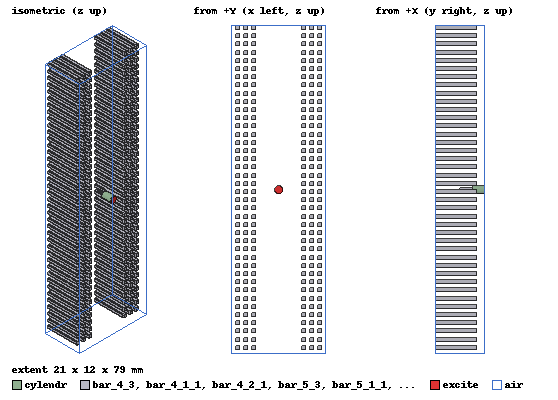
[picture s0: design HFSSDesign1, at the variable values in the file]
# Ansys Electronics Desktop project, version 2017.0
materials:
  vacuum: permittivity=1
  pec: conductivity=1e+30
  Teflon (tm): permittivity=2.1 dielectric_loss_tangent=0.001

design HFSSDesign1 (HFSS, DrivenModal, model units mm)
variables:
  a = 23mm
  b = 12mm
  l = 80mm
  a1 = 1mm
  l1 = 10mm
  b1 = 1mm
  r1 = 0.42mm
  h1 = -6mm
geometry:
  air [vacuum] = box(corner=(0mm, 0mm, 0mm), size=(a, b, l))
  bar [pec] = box(corner=(1mm, 0mm, 1mm), size=(a1, l1, b1))
  bar_1..bar_39 [pec] = bar.duplicate_along_line(step=(0mm, 0mm, 2mm), total=40)
  bar_40, bar_41 [pec] = bar.duplicate_along_line(step=(2mm, 0mm, 0mm), total=3)
  bar_1_1, bar_1_2 [pec] = bar_1.duplicate_along_line(step=(2mm, 0mm, 0mm), total=3)
  bar_2_1, bar_2_2 [pec] = bar_2.duplicate_along_line(step=(2mm, 0mm, 0mm), total=3)
  bar_3_1, bar_3_2 [pec] = bar_3.duplicate_along_line(step=(2mm, 0mm, 0mm), total=3)
  bar_4_1, bar_4_2 [pec] = bar_4.duplicate_along_line(step=(2mm, 0mm, 0mm), total=3)
  bar_5_1, bar_5_2 [pec] = bar_5.duplicate_along_line(step=(2mm, 0mm, 0mm), total=3)
  bar_6_1, bar_6_2 [pec] = bar_6.duplicate_along_line(step=(2mm, 0mm, 0mm), total=3)
  bar_7_1, bar_7_2 [pec] = bar_7.duplicate_along_line(step=(2mm, 0mm, 0mm), total=3)
  bar_8_1, bar_8_2 [pec] = bar_8.duplicate_along_line(step=(2mm, 0mm, 0mm), total=3)
  bar_9_1, bar_9_2 [pec] = bar_9.duplicate_along_line(step=(2mm, 0mm, 0mm), total=3)
  bar_10_1, bar_10_2 [pec] = bar_10.duplicate_along_line(step=(2mm, 0mm, 0mm), total=3)
  bar_11_1, bar_11_2 [pec] = bar_11.duplicate_along_line(step=(2mm, 0mm, 0mm), total=3)
  bar_12_1, bar_12_2 [pec] = bar_12.duplicate_along_line(step=(2mm, 0mm, 0mm), total=3)
  bar_13_1, bar_13_2 [pec] = bar_13.duplicate_along_line(step=(2mm, 0mm, 0mm), total=3)
  bar_14_1, bar_14_2 [pec] = bar_14.duplicate_along_line(step=(2mm, 0mm, 0mm), total=3)
  bar_15_1, bar_15_2 [pec] = bar_15.duplicate_along_line(step=(2mm, 0mm, 0mm), total=3)
  bar_16_1, bar_16_2 [pec] = bar_16.duplicate_along_line(step=(2mm, 0mm, 0mm), total=3)
  bar_17_1, bar_17_2 [pec] = bar_17.duplicate_along_line(step=(2mm, 0mm, 0mm), total=3)
  bar_18_1, bar_18_2 [pec] = bar_18.duplicate_along_line(step=(2mm, 0mm, 0mm), total=3)
  bar_19_1, bar_19_2 [pec] = bar_19.duplicate_along_line(step=(2mm, 0mm, 0mm), total=3)
  bar_20_1, bar_20_2 [pec] = bar_20.duplicate_along_line(step=(2mm, 0mm, 0mm), total=3)
  bar_21_1, bar_21_2 [pec] = bar_21.duplicate_along_line(step=(2mm, 0mm, 0mm), total=3)
  bar_22_1, bar_22_2 [pec] = bar_22.duplicate_along_line(step=(2mm, 0mm, 0mm), total=3)
  bar_23_1, bar_23_2 [pec] = bar_23.duplicate_along_line(step=(2mm, 0mm, 0mm), total=3)
  bar_24_1, bar_24_2 [pec] = bar_24.duplicate_along_line(step=(2mm, 0mm, 0mm), total=3)
  bar_25_1, bar_25_2 [pec] = bar_25.duplicate_along_line(step=(2mm, 0mm, 0mm), total=3)
  bar_26_1, bar_26_2 [pec] = bar_26.duplicate_along_line(step=(2mm, 0mm, 0mm), total=3)
  bar_27_1, bar_27_2 [pec] = bar_27.duplicate_along_line(step=(2mm, 0mm, 0mm), total=3)
  bar_28_1, bar_28_2 [pec] = bar_28.duplicate_along_line(step=(2mm, 0mm, 0mm), total=3)
  bar_29_1, bar_29_2 [pec] = bar_29.duplicate_along_line(step=(2mm, 0mm, 0mm), total=3)
  bar_30_1, bar_30_2 [pec] = bar_30.duplicate_along_line(step=(2mm, 0mm, 0mm), total=3)
  bar_31_1, bar_31_2 [pec] = bar_31.duplicate_along_line(step=(2mm, 0mm, 0mm), total=3)
  bar_32_1, bar_32_2 [pec] = bar_32.duplicate_along_line(step=(2mm, 0mm, 0mm), total=3)
  bar_33_1, bar_33_2 [pec] = bar_33.duplicate_along_line(step=(2mm, 0mm, 0mm), total=3)
  bar_34_1, bar_34_2 [pec] = bar_34.duplicate_along_line(step=(2mm, 0mm, 0mm), total=3)
  bar_35_1, bar_35_2 [pec] = bar_35.duplicate_along_line(step=(2mm, 0mm, 0mm), total=3)
  bar_36_1, bar_36_2 [pec] = bar_36.duplicate_along_line(step=(2mm, 0mm, 0mm), total=3)
  bar_37_1, bar_37_2 [pec] = bar_37.duplicate_along_line(step=(2mm, 0mm, 0mm), total=3)
  bar_38_1, bar_38_2 [pec] = bar_38.duplicate_along_line(step=(2mm, 0mm, 0mm), total=3)
  bar_39_1, bar_39_2 [pec] = bar_39.duplicate_along_line(step=(2mm, 0mm, 0mm), total=3)
  bar_42 [pec] = bar.duplicate_along_line(step=(16mm, 0mm, 0mm), total=2)
  bar_1_3 [pec] = bar_1.duplicate_along_line(step=(16mm, 0mm, 0mm), total=2)
  bar_1_1_1 [pec] = bar_1_1.duplicate_along_line(step=(16mm, 0mm, 0mm), total=2)
  bar_1_2_1 [pec] = bar_1_2.duplicate_along_line(step=(16mm, 0mm, 0mm), total=2)
  bar_2_3 [pec] = bar_2.duplicate_along_line(step=(16mm, 0mm, 0mm), total=2)
  bar_2_1_1 [pec] = bar_2_1.duplicate_along_line(step=(16mm, 0mm, 0mm), total=2)
  bar_2_2_1 [pec] = bar_2_2.duplicate_along_line(step=(16mm, 0mm, 0mm), total=2)
  bar_3_3 [pec] = bar_3.duplicate_along_line(step=(16mm, 0mm, 0mm), total=2)
  bar_3_1_1 [pec] = bar_3_1.duplicate_along_line(step=(16mm, 0mm, 0mm), total=2)
  bar_3_2_1 [pec] = bar_3_2.duplicate_along_line(step=(16mm, 0mm, 0mm), total=2)
  bar_4_3 [pec] = bar_4.duplicate_along_line(step=(16mm, 0mm, 0mm), total=2)
  bar_4_1_1 [pec] = bar_4_1.duplicate_along_line(step=(16mm, 0mm, 0mm), total=2)
  bar_4_2_1 [pec] = bar_4_2.duplicate_along_line(step=(16mm, 0mm, 0mm), total=2)
  bar_5_3 [pec] = bar_5.duplicate_along_line(step=(16mm, 0mm, 0mm), total=2)
  bar_5_1_1 [pec] = bar_5_1.duplicate_along_line(step=(16mm, 0mm, 0mm), total=2)
  bar_5_2_1 [pec] = bar_5_2.duplicate_along_line(step=(16mm, 0mm, 0mm), total=2)
  bar_6_3 [pec] = bar_6.duplicate_along_line(step=(16mm, 0mm, 0mm), total=2)
  bar_6_1_1 [pec] = bar_6_1.duplicate_along_line(step=(16mm, 0mm, 0mm), total=2)
  bar_6_2_1 [pec] = bar_6_2.duplicate_along_line(step=(16mm, 0mm, 0mm), total=2)
  bar_7_3 [pec] = bar_7.duplicate_along_line(step=(16mm, 0mm, 0mm), total=2)
  bar_7_1_1 [pec] = bar_7_1.duplicate_along_line(step=(16mm, 0mm, 0mm), total=2)
  bar_7_2_1 [pec] = bar_7_2.duplicate_along_line(step=(16mm, 0mm, 0mm), total=2)
  bar_8_3 [pec] = bar_8.duplicate_along_line(step=(16mm, 0mm, 0mm), total=2)
  bar_8_1_1 [pec] = bar_8_1.duplicate_along_line(step=(16mm, 0mm, 0mm), total=2)
  bar_8_2_1 [pec] = bar_8_2.duplicate_along_line(step=(16mm, 0mm, 0mm), total=2)
  bar_9_3 [pec] = bar_9.duplicate_along_line(step=(16mm, 0mm, 0mm), total=2)
  bar_9_1_1 [pec] = bar_9_1.duplicate_along_line(step=(16mm, 0mm, 0mm), total=2)
  bar_9_2_1 [pec] = bar_9_2.duplicate_along_line(step=(16mm, 0mm, 0mm), total=2)
  bar_10_3 [pec] = bar_10.duplicate_along_line(step=(16mm, 0mm, 0mm), total=2)
  bar_10_1_1 [pec] = bar_10_1.duplicate_along_line(step=(16mm, 0mm, 0mm), total=2)
  bar_10_2_1 [pec] = bar_10_2.duplicate_along_line(step=(16mm, 0mm, 0mm), total=2)
  bar_11_3 [pec] = bar_11.duplicate_along_line(step=(16mm, 0mm, 0mm), total=2)
  bar_11_1_1 [pec] = bar_11_1.duplicate_along_line(step=(16mm, 0mm, 0mm), total=2)
  bar_11_2_1 [pec] = bar_11_2.duplicate_along_line(step=(16mm, 0mm, 0mm), total=2)
  bar_12_3 [pec] = bar_12.duplicate_along_line(step=(16mm, 0mm, 0mm), total=2)
  bar_12_1_1 [pec] = bar_12_1.duplicate_along_line(step=(16mm, 0mm, 0mm), total=2)
  bar_12_2_1 [pec] = bar_12_2.duplicate_along_line(step=(16mm, 0mm, 0mm), total=2)
  bar_13_3 [pec] = bar_13.duplicate_along_line(step=(16mm, 0mm, 0mm), total=2)
  bar_13_1_1 [pec] = bar_13_1.duplicate_along_line(step=(16mm, 0mm, 0mm), total=2)
  bar_13_2_1 [pec] = bar_13_2.duplicate_along_line(step=(16mm, 0mm, 0mm), total=2)
  bar_14_3 [pec] = bar_14.duplicate_along_line(step=(16mm, 0mm, 0mm), total=2)
  bar_14_1_1 [pec] = bar_14_1.duplicate_along_line(step=(16mm, 0mm, 0mm), total=2)
  bar_14_2_1 [pec] = bar_14_2.duplicate_along_line(step=(16mm, 0mm, 0mm), total=2)
  bar_15_3 [pec] = bar_15.duplicate_along_line(step=(16mm, 0mm, 0mm), total=2)
  bar_15_1_1 [pec] = bar_15_1.duplicate_along_line(step=(16mm, 0mm, 0mm), total=2)
  bar_15_2_1 [pec] = bar_15_2.duplicate_along_line(step=(16mm, 0mm, 0mm), total=2)
  bar_16_3 [pec] = bar_16.duplicate_along_line(step=(16mm, 0mm, 0mm), total=2)
  bar_16_1_1 [pec] = bar_16_1.duplicate_along_line(step=(16mm, 0mm, 0mm), total=2)
  bar_16_2_1 [pec] = bar_16_2.duplicate_along_line(step=(16mm, 0mm, 0mm), total=2)
  bar_17_3 [pec] = bar_17.duplicate_along_line(step=(16mm, 0mm, 0mm), total=2)
  bar_17_1_1 [pec] = bar_17_1.duplicate_along_line(step=(16mm, 0mm, 0mm), total=2)
  bar_17_2_1 [pec] = bar_17_2.duplicate_along_line(step=(16mm, 0mm, 0mm), total=2)
  bar_18_3 [pec] = bar_18.duplicate_along_line(step=(16mm, 0mm, 0mm), total=2)
  bar_18_1_1 [pec] = bar_18_1.duplicate_along_line(step=(16mm, 0mm, 0mm), total=2)
  bar_18_2_1 [pec] = bar_18_2.duplicate_along_line(step=(16mm, 0mm, 0mm), total=2)
  bar_19_3 [pec] = bar_19.duplicate_along_line(step=(16mm, 0mm, 0mm), total=2)
  bar_19_1_1 [pec] = bar_19_1.duplicate_along_line(step=(16mm, 0mm, 0mm), total=2)
  bar_19_2_1 [pec] = bar_19_2.duplicate_along_line(step=(16mm, 0mm, 0mm), total=2)
  bar_20_3 [pec] = bar_20.duplicate_along_line(step=(16mm, 0mm, 0mm), total=2)
  bar_20_1_1 [pec] = bar_20_1.duplicate_along_line(step=(16mm, 0mm, 0mm), total=2)
  bar_20_2_1 [pec] = bar_20_2.duplicate_along_line(step=(16mm, 0mm, 0mm), total=2)
  bar_21_3 [pec] = bar_21.duplicate_along_line(step=(16mm, 0mm, 0mm), total=2)
  bar_21_1_1 [pec] = bar_21_1.duplicate_along_line(step=(16mm, 0mm, 0mm), total=2)
  bar_21_2_1 [pec] = bar_21_2.duplicate_along_line(step=(16mm, 0mm, 0mm), total=2)
  bar_22_3 [pec] = bar_22.duplicate_along_line(step=(16mm, 0mm, 0mm), total=2)
  bar_22_1_1 [pec] = bar_22_1.duplicate_along_line(step=(16mm, 0mm, 0mm), total=2)
  bar_22_2_1 [pec] = bar_22_2.duplicate_along_line(step=(16mm, 0mm, 0mm), total=2)
  bar_23_3 [pec] = bar_23.duplicate_along_line(step=(16mm, 0mm, 0mm), total=2)
  bar_23_1_1 [pec] = bar_23_1.duplicate_along_line(step=(16mm, 0mm, 0mm), total=2)
  bar_23_2_1 [pec] = bar_23_2.duplicate_along_line(step=(16mm, 0mm, 0mm), total=2)
  bar_24_3 [pec] = bar_24.duplicate_along_line(step=(16mm, 0mm, 0mm), total=2)
  bar_24_1_1 [pec] = bar_24_1.duplicate_along_line(step=(16mm, 0mm, 0mm), total=2)
  bar_24_2_1 [pec] = bar_24_2.duplicate_along_line(step=(16mm, 0mm, 0mm), total=2)
  bar_25_3 [pec] = bar_25.duplicate_along_line(step=(16mm, 0mm, 0mm), total=2)
  bar_25_1_1 [pec] = bar_25_1.duplicate_along_line(step=(16mm, 0mm, 0mm), total=2)
  bar_25_2_1 [pec] = bar_25_2.duplicate_along_line(step=(16mm, 0mm, 0mm), total=2)
  bar_26_3 [pec] = bar_26.duplicate_along_line(step=(16mm, 0mm, 0mm), total=2)
  bar_26_1_1 [pec] = bar_26_1.duplicate_along_line(step=(16mm, 0mm, 0mm), total=2)
  bar_26_2_1 [pec] = bar_26_2.duplicate_along_line(step=(16mm, 0mm, 0mm), total=2)
  bar_27_3 [pec] = bar_27.duplicate_along_line(step=(16mm, 0mm, 0mm), total=2)
  bar_27_1_1 [pec] = bar_27_1.duplicate_along_line(step=(16mm, 0mm, 0mm), total=2)
  bar_27_2_1 [pec] = bar_27_2.duplicate_along_line(step=(16mm, 0mm, 0mm), total=2)
  bar_28_3 [pec] = bar_28.duplicate_along_line(step=(16mm, 0mm, 0mm), total=2)
  bar_28_1_1 [pec] = bar_28_1.duplicate_along_line(step=(16mm, 0mm, 0mm), total=2)
  bar_28_2_1 [pec] = bar_28_2.duplicate_along_line(step=(16mm, 0mm, 0mm), total=2)
  bar_29_3 [pec] = bar_29.duplicate_along_line(step=(16mm, 0mm, 0mm), total=2)
  bar_29_1_1 [pec] = bar_29_1.duplicate_along_line(step=(16mm, 0mm, 0mm), total=2)
  bar_29_2_1 [pec] = bar_29_2.duplicate_along_line(step=(16mm, 0mm, 0mm), total=2)
  bar_30_3 [pec] = bar_30.duplicate_along_line(step=(16mm, 0mm, 0mm), total=2)
  bar_30_1_1 [pec] = bar_30_1.duplicate_along_line(step=(16mm, 0mm, 0mm), total=2)
  bar_30_2_1 [pec] = bar_30_2.duplicate_along_line(step=(16mm, 0mm, 0mm), total=2)
  bar_31_3 [pec] = bar_31.duplicate_along_line(step=(16mm, 0mm, 0mm), total=2)
  bar_31_1_1 [pec] = bar_31_1.duplicate_along_line(step=(16mm, 0mm, 0mm), total=2)
  bar_31_2_1 [pec] = bar_31_2.duplicate_along_line(step=(16mm, 0mm, 0mm), total=2)
  bar_32_3 [pec] = bar_32.duplicate_along_line(step=(16mm, 0mm, 0mm), total=2)
  bar_32_1_1 [pec] = bar_32_1.duplicate_along_line(step=(16mm, 0mm, 0mm), total=2)
  bar_32_2_1 [pec] = bar_32_2.duplicate_along_line(step=(16mm, 0mm, 0mm), total=2)
  bar_33_3 [pec] = bar_33.duplicate_along_line(step=(16mm, 0mm, 0mm), total=2)
  bar_33_1_1 [pec] = bar_33_1.duplicate_along_line(step=(16mm, 0mm, 0mm), total=2)
  bar_33_2_1 [pec] = bar_33_2.duplicate_along_line(step=(16mm, 0mm, 0mm), total=2)
  bar_34_3 [pec] = bar_34.duplicate_along_line(step=(16mm, 0mm, 0mm), total=2)
  bar_34_1_1 [pec] = bar_34_1.duplicate_along_line(step=(16mm, 0mm, 0mm), total=2)
  bar_34_2_1 [pec] = bar_34_2.duplicate_along_line(step=(16mm, 0mm, 0mm), total=2)
  bar_35_3 [pec] = bar_35.duplicate_along_line(step=(16mm, 0mm, 0mm), total=2)
  bar_35_1_1 [pec] = bar_35_1.duplicate_along_line(step=(16mm, 0mm, 0mm), total=2)
  bar_35_2_1 [pec] = bar_35_2.duplicate_along_line(step=(16mm, 0mm, 0mm), total=2)
  bar_36_3 [pec] = bar_36.duplicate_along_line(step=(16mm, 0mm, 0mm), total=2)
  bar_36_1_1 [pec] = bar_36_1.duplicate_along_line(step=(16mm, 0mm, 0mm), total=2)
  bar_36_2_1 [pec] = bar_36_2.duplicate_along_line(step=(16mm, 0mm, 0mm), total=2)
  bar_37_3 [pec] = bar_37.duplicate_along_line(step=(16mm, 0mm, 0mm), total=2)
  bar_37_1_1 [pec] = bar_37_1.duplicate_along_line(step=(16mm, 0mm, 0mm), total=2)
  bar_37_2_1 [pec] = bar_37_2.duplicate_along_line(step=(16mm, 0mm, 0mm), total=2)
  bar_38_3 [pec] = bar_38.duplicate_along_line(step=(16mm, 0mm, 0mm), total=2)
  bar_38_1_1 [pec] = bar_38_1.duplicate_along_line(step=(16mm, 0mm, 0mm), total=2)
  bar_38_2_1 [pec] = bar_38_2.duplicate_along_line(step=(16mm, 0mm, 0mm), total=2)
  bar_39_3 [pec] = bar_39.duplicate_along_line(step=(16mm, 0mm, 0mm), total=2)
  bar_39_1_1 [pec] = bar_39_1.duplicate_along_line(step=(16mm, 0mm, 0mm), total=2)
  bar_39_2_1 [pec] = bar_39_2.duplicate_along_line(step=(16mm, 0mm, 0mm), total=2)
  bar_40_1 [pec] = bar_40.duplicate_along_line(step=(16mm, 0mm, 0mm), total=2)
  bar_41_1 [pec] = bar_41.duplicate_along_line(step=(16mm, 0mm, 0mm), total=2)
  cylendr [Teflon (tm)] = cylinder(axis=Y, base_centre=(a/2, b, l/2), radius=1mm, height=-3mm)
  coax1 = cylinder(axis=Y, base_centre=(a/2, b, l/2), radius=r1, height=h1)
  coax2 [pec] = cylinder(axis=Y, base_centre=(a/2, b, l/2), radius=r1, height=h1)
  cylendr.subtract(coax1)
  excite = circle(normal=Y, centre=(a/2, b, l/2), radius=1mm)
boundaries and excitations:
  1: Wave Port Objects=excite NumModes=1 Modes{Mode1{CharImp=Zpi}}
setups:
  Setup1: HfssDriven Frequency=24GHz MaxDeltaS=0.02 MaximumPasses=6 MinimumPasses=1 MinimumConvergedPasses=1 PercentRefinement=30 BasisOrder=1 PortAccuracy=2 RayDensityPerWavelength=4 MaxNumberOfBounces=5
    sweep Sweep: 24GHz to 25GHz, 25 points; Type=Fast SaveFields
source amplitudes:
  1:1: 1W 0deg
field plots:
  Mag_H1: H Field in air on Setup1 : LastAdaptive at Freq=24GHz Phase=0deg
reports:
  XY Plot 1: dB(S(1,1)) vs Freq on Setup1 : Sweep
